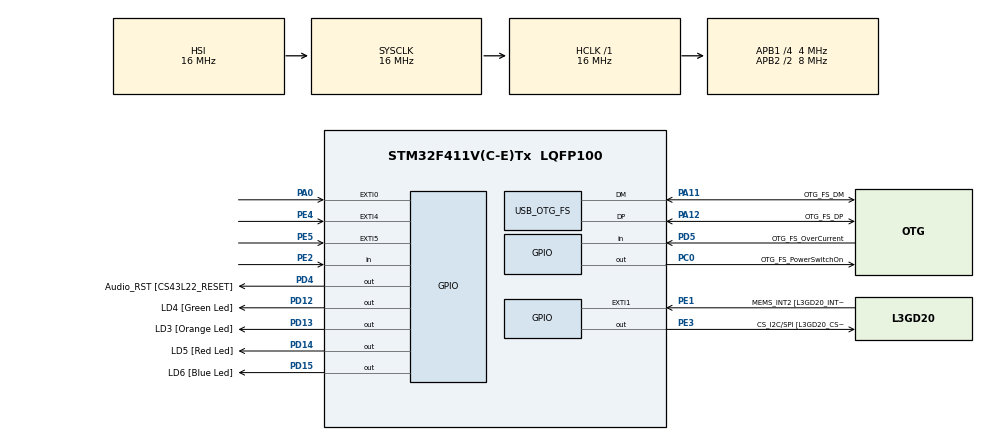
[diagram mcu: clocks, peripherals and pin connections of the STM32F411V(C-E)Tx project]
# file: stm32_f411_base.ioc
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FREERTOS.Tasks01=defaultTask,24,128,StartDefaultTask,Default,NULL,Dynamic,NULL,NULL
FREERTOS.configUSE_NEWLIB_REENTRANT=1
Mcu.Family=STM32F4
Mcu.Name=STM32F411V(C-E)Tx
Mcu.Package=LQFP100
NVIC.EXTI0_IRQn=true\:5\:0\:false\:false\:true\:false\:true\:true\:true
NVIC.OTG_FS_IRQn=true\:5\:0\:false\:false\:true\:true\:false\:true\:true
NVIC.PriorityGroup=NVIC_PRIORITYGROUP_4
NVIC.TIM1_BRK_TIM9_IRQn=true\:15\:0\:false\:false\:true\:false\:false\:true\:true
NVIC.TimeBase=TIM1_BRK_TIM9_IRQn
NVIC.TimeBaseIP=TIM9
PA0-WKUP.Signal=GPXTI0
PA10.GPIO_Label=OTG_FS_ID
PA10.Signal=USB_OTG_FS_ID
PA11.GPIO_Label=OTG_FS_DM
PA11.Mode=Device_Only
PA11.Signal=USB_OTG_FS_DM
PA12.GPIO_Label=OTG_FS_DP
PA12.Mode=Device_Only
PA12.Signal=USB_OTG_FS_DP
PA13.GPIO_Label=SWDIO
PA13.Mode=Serial_Wire
PA13.Signal=SYS_JTMS-SWDIO
PA14.GPIO_Label=SWCLK
PA14.Mode=Serial_Wire
PA14.Signal=SYS_JTCK-SWCLK
PA4.GPIO_Label=I2S3_WS [CS43L22_LRCK]
PA4.GPIO_Mode=GPIO_MODE_AF_PP
PA4.GPIO_PuPd=GPIO_NOPULL
PA4.GPIO_Speed=GPIO_SPEED_FREQ_LOW
PA4.Signal=I2S3_WS
PA5.GPIO_Label=SPI1_SCK [L3GD20_SC/SPC]
PA5.Signal=SPI1_SCK
PA6.GPIO_Label=SPI1_MISO [L3GD20_AS0/SDO]
PA6.Signal=SPI1_MISO
PA7.GPIO_Label=SPI1_MOSI [L3GD20_SDA/SDI/SDO]
PA7.Signal=SPI1_MOSI
PA9.GPIO_Label=VBUS_FS
PA9.Signal=USB_OTG_FS_VBUS
PB10.GPIO_Label=CLK_IN [MP45DT02_CLK]
PB10.Signal=I2S2_CK
PB12.Signal=I2S2_WS
PB3.GPIO_Label=SWO
PB3.Signal=SYS_JTDO-SWO
PB6.GPIO_Label=Audio_SCL [CS43L22_SCL]
PB6.GPIO_Mode=GPIO_MODE_AF_OD
PB6.GPIO_PuPd=GPIO_NOPULL
PB6.GPIO_Speed=GPIO_SPEED_FREQ_LOW
PB6.Signal=I2C1_SCL
PB9.GPIO_Label=Audio_SDA [CS43L22_SDA]
PB9.GPIO_Mode=GPIO_MODE_AF_OD
PB9.GPIO_PuPd=GPIO_NOPULL
PB9.GPIO_Speed=GPIO_SPEED_FREQ_LOW
PB9.Signal=I2C1_SDA
PC0.GPIO_Label=OTG_FS_PowerSwitchOn
PC0.PinState=GPIO_PIN_SET
PC0.Signal=GPIO_Output
PC10.GPIO_Label=I2S3_SCK [CS43L22_SCLK]
PC10.GPIO_Mode=GPIO_MODE_AF_PP
PC10.GPIO_PuPd=GPIO_NOPULL
PC10.GPIO_Speed=GPIO_SPEED_FREQ_LOW
PC10.Signal=I2S3_CK
PC12.GPIO_Label=I2S3_SD [CS43L22_SDIN]
PC12.GPIO_Mode=GPIO_MODE_AF_PP
PC12.GPIO_PuPd=GPIO_NOPULL
PC12.GPIO_Speed=GPIO_SPEED_FREQ_LOW
PC12.Signal=I2S3_SD
PC14-OSC32_IN.GPIO_Label=PC14-OSC32_IN
PC14-OSC32_IN.Signal=RCC_OSC32_IN
PC15-OSC32_OUT.GPIO_Label=PC15-OSC32_OUT
PC15-OSC32_OUT.Signal=RCC_OSC32_OUT
PC3.GPIO_Label=PDM_OUT [MP45DT02_DOUT]
PC3.Signal=I2S2_SD
PC7.GPIO_Label=I2S3_MCK [CS43L22_MCLK]
PC7.GPIO_Mode=GPIO_MODE_AF_PP
PC7.GPIO_PuPd=GPIO_NOPULL
PC7.GPIO_Speed=GPIO_SPEED_FREQ_LOW
PC7.Signal=I2S3_MCK
PD12.GPIO_Label=LD4 [Green Led]
PD12.GPIO_PuPd=GPIO_NOPULL
PD12.GPIO_Speed=GPIO_SPEED_FREQ_LOW
PD12.Signal=GPIO_Output
PD13.GPIO_Label=LD3 [Orange Led]
PD13.GPIO_PuPd=GPIO_NOPULL
PD13.GPIO_Speed=GPIO_SPEED_FREQ_LOW
PD13.Signal=GPIO_Output
PD14.GPIO_Label=LD5 [Red Led]
PD14.GPIO_PuPd=GPIO_NOPULL
PD14.GPIO_Speed=GPIO_SPEED_FREQ_LOW
PD14.Signal=GPIO_Output
PD15.GPIO_Label=LD6 [Blue Led]
PD15.GPIO_PuPd=GPIO_NOPULL
PD15.GPIO_Speed=GPIO_SPEED_FREQ_LOW
PD15.Signal=GPIO_Output
PD4.GPIO_Label=Audio_RST [CS43L22_RESET]
PD4.Signal=GPIO_Output
PD5.GPIO_Label=OTG_FS_OverCurrent
PD5.Signal=GPIO_Input
PE1.GPIO_Label=MEMS_INT2 [L3GD20_INT2]
PE1.GPIO_ModeDefaultEXTI=GPIO_MODE_EVT_RISING
PE1.Signal=GPXTI1
PE2.Signal=GPIO_Input
PE3.GPIO_Label=CS_I2C/SPI [L3GD20_CS_I2C/SPI]
PE3.Signal=GPIO_Output
PE4.GPIO_ModeDefaultEXTI=GPIO_MODE_EVT_RISING
PE4.Signal=GPXTI4
PE5.GPIO_ModeDefaultEXTI=GPIO_MODE_EVT_RISING
PE5.Signal=GPXTI5
PH0\ -\ OSC_IN.GPIO_Label=PH0-OSC_IN
PH0\ -\ OSC_IN.Mode=HSE-External-Oscillator
PH0\ -\ OSC_IN.Signal=RCC_OSC_IN
PH1\ -\ OSC_OUT.GPIO_Label=PH1-OSC_OUT
PH1\ -\ OSC_OUT.Mode=HSE-External-Oscillator
PH1\ -\ OSC_OUT.Signal=RCC_OSC_OUT
ProjectManager.HeapSize=0x1000
ProjectManager.StackSize=0x400
ProjectManager.TargetToolchain=STM32CubeIDE
RCC.48MHZClocksFreq_Value=48000000
RCC.AHBFreq_Value=16000000
RCC.APB1CLKDivider=RCC_HCLK_DIV4
RCC.APB1Freq_Value=4000000
RCC.APB1TimFreq_Value=8000000
RCC.APB2CLKDivider=RCC_HCLK_DIV2
RCC.APB2Freq_Value=8000000
RCC.APB2TimFreq_Value=16000000
RCC.CortexFreq_Value=16000000
RCC.HCLKFreq_Value=16000000
RCC.HSE_VALUE=8000000
RCC.HSI_VALUE=16000000
RCC.LSE_VALUE=32768
RCC.PLLI2SM=5
RCC.PLLI2SN=200
RCC.PLLM=4
RCC.PLLN=72
RCC.PLLP=RCC_PLLP_DIV4
RCC.PLLQ=3
RCC.SYSCLKFreq_VALUE=16000000
RCC.VCOOutputFreq_Value=144000000
USB_DEVICE.APP_RX_DATA_SIZE=256
USB_DEVICE.APP_TX_DATA_SIZE=256
USB_DEVICE.CLASS_NAME_FS=CDC
USB_DEVICE.USBD_MAX_STR_DESC_SIZ=256
USB_DEVICE.VirtualMode=Cdc
USB_DEVICE.VirtualModeFS=Cdc_FS
USB_OTG_FS.VirtualMode=Device_Only
VP_FREERTOS_VS_CMSIS_V2.Mode=CMSIS_V2
VP_SYS_VS_tim9.Mode=TIM9
VP_USB_DEVICE_VS_USB_DEVICE_CDC_FS.Mode=CDC_FS
board=STM32F411E-DISCO

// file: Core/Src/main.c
/* USER CODE BEGIN Header */
/**
  ******************************************************************************
  * @file           : main.c
  * @brief          : Main program body
  ******************************************************************************
  * @attention
  *
  * Copyright (c) 2026 STMicroelectronics.
  * All rights reserved.
  *
  * This software is licensed under terms that can be found in the LICENSE file
  * in the root directory of this software component.
  * If no LICENSE file comes with this software, it is provided AS-IS.
  *
  ******************************************************************************
  */
/* USER CODE END Header */
#include "main.h"
#include "usb_device.h"
#include "gpio.h"

/* USER CODE BEGIN Includes */
#include "FreeRTOS.h"
#include "task.h"
#include "semphr.h"
#include "queue.h"
#include <stdlib.h> // Para la función rand()
#include "timers.h"
#include <limits.h>
#include "usbd_cdc_if.h"
/* USER CODE END Includes */

/* USER CODE BEGIN PTD */
typedef struct {
	GPIO_TypeDef* GPIO_puerto;
	uint16_t GPIO_pin;
	uint32_t delay;
}Led_Param_t;

typedef enum {
    STATE_INACTIVE,
    STATE_ARMING,
    STATE_ARMED
} AlarmState_t;
/* USER CODE END PTD */

/* USER CODE BEGIN PM */
#define MAX_STRING_LEN 64U

/* USER CODE END PM */

/* USER CODE BEGIN PV */
Led_Param_t leds_param[4] = {{GPIOD, GPIO_PIN_12, 100},	{GPIOD, GPIO_PIN_13, 100},
							{GPIOD, GPIO_PIN_14, 100}, {GPIOD, GPIO_PIN_15, 100}};

SemaphoreHandle_t xUSB_Tx_Mutex = NULL;
TaskHandle_t xTarea_Comandos_Handle;

/* USER CODE END PV */

void SystemClock_Config(void);

uint8_t usb_transmit_buffer_safe(const char *pcString);
void vTareaComandos(void *pvParameters);

int main(void)
{

  /* MCU Configuration--------------------------------------------------------*/

  /* Reset of all peripherals, Initializes the Flash interface and the Systick. */
  HAL_Init();

  /* Configure the system clock */
  SystemClock_Config();

  /* Initialize all configured peripherals */
  MX_GPIO_Init();
  /* USER CODE BEGIN 2 */
  MX_USB_DEVICE_Init();

  xUSB_Tx_Mutex = xSemaphoreCreateMutex();

  xTaskCreate(vTareaComandos, "Tarea Com", 1024, NULL, 1, &xTarea_Comandos_Handle);

  /* Start scheduler */
  vTaskStartScheduler();

  /* USER CODE END 2 */

  /* Init scheduler */

  /* Start scheduler */

  /* We should never get here as control is now taken by the scheduler */

  /* Infinite loop */
  while (1)
  {

  }
}

void SystemClock_Config(void)
{
  RCC_OscInitTypeDef RCC_OscInitStruct = {0};
  RCC_ClkInitTypeDef RCC_ClkInitStruct = {0};

  /** Configure the main internal regulator output voltage
  */
  __HAL_RCC_PWR_CLK_ENABLE();
  __HAL_PWR_VOLTAGESCALING_CONFIG(PWR_REGULATOR_VOLTAGE_SCALE1);

  /** Initializes the RCC Oscillators according to the specified parameters
  * in the RCC_OscInitTypeDef structure.
  */
  RCC_OscInitStruct.OscillatorType = RCC_OSCILLATORTYPE_HSI|RCC_OSCILLATORTYPE_HSE;
  RCC_OscInitStruct.HSEState = RCC_HSE_ON;
  RCC_OscInitStruct.HSIState = RCC_HSI_ON;
  RCC_OscInitStruct.HSICalibrationValue = RCC_HSICALIBRATION_DEFAULT;
  RCC_OscInitStruct.PLL.PLLState = RCC_PLL_ON;
  RCC_OscInitStruct.PLL.PLLSource = RCC_PLLSOURCE_HSE;
  RCC_OscInitStruct.PLL.PLLM = 4;
  RCC_OscInitStruct.PLL.PLLN = 72;
  RCC_OscInitStruct.PLL.PLLP = RCC_PLLP_DIV4;
  RCC_OscInitStruct.PLL.PLLQ = 3;
  if (HAL_RCC_OscConfig(&RCC_OscInitStruct) != HAL_OK)
  {
    Error_Handler();
  }

  /** Initializes the CPU, AHB and APB buses clocks
  */
  RCC_ClkInitStruct.ClockType = RCC_CLOCKTYPE_HCLK|RCC_CLOCKTYPE_SYSCLK
                              |RCC_CLOCKTYPE_PCLK1|RCC_CLOCKTYPE_PCLK2;
  RCC_ClkInitStruct.SYSCLKSource = RCC_SYSCLKSOURCE_HSI;
  RCC_ClkInitStruct.AHBCLKDivider = RCC_SYSCLK_DIV1;
  RCC_ClkInitStruct.APB1CLKDivider = RCC_HCLK_DIV4;
  RCC_ClkInitStruct.APB2CLKDivider = RCC_HCLK_DIV2;

  if (HAL_RCC_ClockConfig(&RCC_ClkInitStruct, FLASH_LATENCY_0) != HAL_OK)
  {
    Error_Handler();
  }
}

/* USER CODE BEGIN 4 */
uint8_t usb_transmit_buffer_safe(const char *pcString){
	uint8_t status;
	uint16_t len = 0U;

	if(xSemaphoreTake(xUSB_Tx_Mutex, portMAX_DELAY) == pdTRUE){

		while(pcString[len] != '\0') len++; // Standard de C
		do {
			status = CDC_Transmit_FS((uint8_t*)pcString, len);

			if(status == USBD_BUSY) {
				// Liberamos el CPU para despues volver a iterar

				//vTaskDelay(pdMS_TO_TICKS(1));
			}
		} while(status == USBD_BUSY);

		// Liberamos el Mutex
		xSemaphoreGive(xUSB_Tx_Mutex);
	}
	return USBD_OK;
}

void vTareaComandos(void *pvParameters){

	uint32_t comand;

    while(1) {
    	xTaskNotifyWait(0, ULONG_MAX, &comand, portMAX_DELAY);

    	switch (comand) {
			case 0x01:
				usb_transmit_buffer_safe("[EVENTO] LED 1\r\n");
				HAL_GPIO_TogglePin(leds_param[0].GPIO_puerto, leds_param[0].GPIO_pin);
				HAL_GPIO_WritePin(GPIOD, GPIO_PIN_13, GPIO_PIN_RESET);
				HAL_GPIO_WritePin(GPIOD, GPIO_PIN_14, GPIO_PIN_RESET);
				HAL_GPIO_WritePin(GPIOD, GPIO_PIN_15, GPIO_PIN_RESET);
				break;

			case 0x02:
				usb_transmit_buffer_safe("[EVENTO] LED 2\r\n");
				HAL_GPIO_TogglePin(leds_param[1].GPIO_puerto, leds_param[1].GPIO_pin);
				HAL_GPIO_WritePin(GPIOD, GPIO_PIN_12, GPIO_PIN_RESET);
				HAL_GPIO_WritePin(GPIOD, GPIO_PIN_14, GPIO_PIN_RESET);
				HAL_GPIO_WritePin(GPIOD, GPIO_PIN_15, GPIO_PIN_RESET);
				break;

			case 0x03:
				usb_transmit_buffer_safe("[EVENTO] LED 3\r\n");
				HAL_GPIO_TogglePin(leds_param[2].GPIO_puerto, leds_param[2].GPIO_pin);
				HAL_GPIO_WritePin(GPIOD, GPIO_PIN_13, GPIO_PIN_RESET);
				HAL_GPIO_WritePin(GPIOD, GPIO_PIN_12, GPIO_PIN_RESET);
				HAL_GPIO_WritePin(GPIOD, GPIO_PIN_15, GPIO_PIN_RESET);
				break;

			case 0x04:
				usb_transmit_buffer_safe("[EVENTO] LED 4\r\n");
				HAL_GPIO_TogglePin(leds_param[3].GPIO_puerto, leds_param[3].GPIO_pin);
				HAL_GPIO_WritePin(GPIOD, GPIO_PIN_13, GPIO_PIN_RESET);
				HAL_GPIO_WritePin(GPIOD, GPIO_PIN_14, GPIO_PIN_RESET);
				HAL_GPIO_WritePin(GPIOD, GPIO_PIN_12, GPIO_PIN_RESET);
				break;

			default:
				usb_transmit_buffer_safe("[WARNING] Comando Invalido\r\n");
				break;
		}

    }
}
/* USER CODE END 4 */

void HAL_TIM_PeriodElapsedCallback(TIM_HandleTypeDef *htim)
{
  if (htim->Instance == TIM9)
  {
    HAL_IncTick();
  }
}

void Error_Handler(void)
{
  __disable_irq();
  while (1)
  {
  }
}
